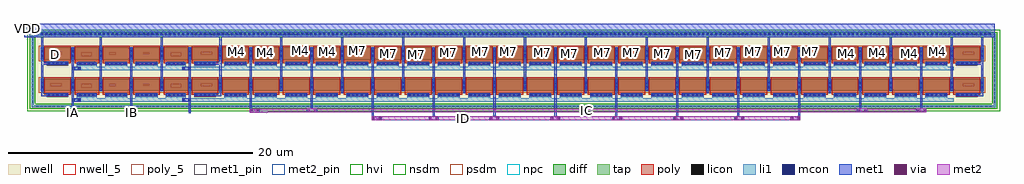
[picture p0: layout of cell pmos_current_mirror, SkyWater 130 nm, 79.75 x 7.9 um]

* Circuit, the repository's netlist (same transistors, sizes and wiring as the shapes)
.subckt pmos_current_mirror VDD IA IB IC ID
XM0 IA VDD VDD VDD sky130_fd_pr__pfet_g5v0d10v5 ad=0.29 pd=2.58 as=0.29 ps=2.58 w=1 l=2.2 M=4
XM1 VDD VDD VDD VDD sky130_fd_pr__pfet_g5v0d10v5 ad=9.86002 pd=87.72501 as=0 ps=0 w=1 l=2.2 M=2
XM2 VDD IA IA VDD sky130_fd_pr__pfet_g5v0d10v5 ad=0.29 pd=2.58 as=0.29 ps=2.58 w=1 l=2 M=4
XM3 VDD IA IB VDD sky130_fd_pr__pfet_g5v0d10v5 ad=0.29 pd=2.58 as=0.145 ps=1.29 w=1 l=2.2 M=4
XM4 VDD IA ID VDD sky130_fd_pr__pfet_g5v0d10v5 ad=0.29 pd=2.58 as=0.145 ps=1.29 w=1 l=2.2 M=32
XM5 VDD IA IC VDD sky130_fd_pr__pfet_g5v0d10v5 ad=0 pd=0 as=2.32 ps=20.64 w=1 l=2.2 M=16
.ends
.end

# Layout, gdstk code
from math import pi, radians
import gdstk
lib = gdstk.Library(unit=1e-6, precision=1e-09)
def R(c, l, rs):  # rectangles x0, y0, x1, y1
    for r in rs: c.add(gdstk.rectangle(r[:2], r[2:], *l))
def A(c, l, x, y, w, h, nx, ny, dx, dy):  # array of equal rectangles
    R(c, l, [(x+i*dx, y+j*dy, x+i*dx+w, y+j*dy+h) for i in range(nx) for j in range(ny)])
nwell_5 = (64, 5)
nwell = (64, 20)
diff = (65, 20)
tap = (65, 44)
poly_5 = (66, 5)
poly = (66, 20)
licon = (66, 44)
li1 = (67, 20)
mcon = (67, 44)
met1_pin = (68, 16)
met1 = (68, 20)
via = (68, 44)
met2_pin = (69, 16)
met2 = (69, 20)
hvi = (75, 20)
nsdm = (93, 44)
psdm = (94, 20)
npc = (95, 20)

sky130_fd_pr__pfet_g5v0d = lib.new_cell('sky130_fd_pr__pfet_g5v0d10v5_4BL26L')
R(sky130_fd_pr__pfet_g5v0d, nwell, [(-1.47,-0.82,1.47,0.99)])
R(sky130_fd_pr__pfet_g5v0d, diff, [(-1.29,-0.32,1.29,0.68)])
R(sky130_fd_pr__pfet_g5v0d, poly_5, [(-0.46,-0.04,0.41,0.27)])
R(sky130_fd_pr__pfet_g5v0d, poly, [(-0.815,-0.805,0.815,-0.64), (-1,-0.64,1,0.81)])
A(sky130_fd_pr__pfet_g5v0d, licon, -0.595, -0.725, 0.17, 0.17, 4, 1, 0.34, 0)
A(sky130_fd_pr__pfet_g5v0d, licon, -1.23, -0.245, 0.17, 0.17, 1, 3, 0, 0.34)
A(sky130_fd_pr__pfet_g5v0d, licon, 1.06, -0.245, 0.17, 0.17, 1, 3, 0, 0.34)
R(sky130_fd_pr__pfet_g5v0d, li1, [(-1.23,-1.2,1.33,-0.9), (-0.82,-0.9,0.82,-0.55), (-1.23,-0.34,-1.06,0.7), (1.06,-0.34,1.23,0.7)])
A(sky130_fd_pr__pfet_g5v0d, mcon, -0.625, -0.725, 0.17, 0.17, 4, 1, 0.36, 0)
R(sky130_fd_pr__pfet_g5v0d, mcon, [(-1.17,-1.14,-1,-0.97), (-0.74,-1.14,-0.57,-0.97), (-1.23,-0.085,-1.06,0.085), (1.06,-0.085,1.23,0.085), (-1.23,0.275,-1.06,0.445), (1.06,0.275,1.23,0.445)])
R(sky130_fd_pr__pfet_g5v0d, met1, [(-1.23,-1.2,-0.51,-0.9), (-1.23,-0.9,-1.06,-0.32), (-0.795,-0.755,0.795,-0.525), (-1.26,-0.32,-1.03,0.68), (1.03,-0.32,1.26,0.68), (1.06,0.68,1.23,1.03)])
R(sky130_fd_pr__pfet_g5v0d, hvi, [(-1.47,-0.82,1.47,-0.505), (-1.475,-0.505,1.475,0.865), (-1.47,0.865,1.47,0.99)])
R(sky130_fd_pr__pfet_g5v0d, psdm, [(-1.415,-0.445,1.415,0.805)])
R(sky130_fd_pr__pfet_g5v0d, npc, [(-0.695,-0.825,0.695,-0.455)])
sky130_fd_pr__pfet_g5v0d.add(gdstk.Label('M3', (-0.025,0.115), layer=66, texttype=5))

c_sky130_fd_pr__pfet_g5v0d = lib.new_cell('sky130_fd_pr__pfet_g5v0d10v5_5BVZHP')
R(c_sky130_fd_pr__pfet_g5v0d, nwell, [(-1.57,-0.82,1.57,0.99)])
R(c_sky130_fd_pr__pfet_g5v0d, diff, [(-1.39,-0.32,1.39,0.68)])
R(c_sky130_fd_pr__pfet_g5v0d, poly_5, [(-0.59,0.05,0.33,0.33)])
R(c_sky130_fd_pr__pfet_g5v0d, poly, [(-0.895,-0.805,0.895,-0.64), (-1.1,-0.64,1.1,0.81)])
A(c_sky130_fd_pr__pfet_g5v0d, licon, -0.765, -0.725, 0.17, 0.17, 5, 1, 0.34, 0)
A(c_sky130_fd_pr__pfet_g5v0d, licon, -1.33, -0.245, 0.17, 0.17, 1, 3, 0, 0.34)
A(c_sky130_fd_pr__pfet_g5v0d, licon, 1.16, -0.245, 0.17, 0.17, 1, 3, 0, 0.34)
R(c_sky130_fd_pr__pfet_g5v0d, li1, [(-0.895,-0.725,0.895,-0.555), (-1.33,-0.34,-1.16,0.7), (1.16,-0.34,1.33,0.7)])
A(c_sky130_fd_pr__pfet_g5v0d, mcon, -0.805, -0.725, 0.17, 0.17, 5, 1, 0.36, 0)
R(c_sky130_fd_pr__pfet_g5v0d, mcon, [(-1.33,-0.085,-1.16,0.085), (1.16,-0.085,1.33,0.085), (-1.33,0.275,-1.16,0.445), (1.16,0.275,1.33,0.445)])
R(c_sky130_fd_pr__pfet_g5v0d, met1, [(-1.33,-0.76,0.88,-0.51), (-1.33,-0.51,-1.16,-0.32), (-1.36,-0.32,-1.13,0.68), (1.13,-0.32,1.36,0.68)])
R(c_sky130_fd_pr__pfet_g5v0d, hvi, [(-1.57,-0.82,1.57,-0.505), (-1.575,-0.505,1.575,0.865), (-1.57,0.865,1.57,0.99)])
R(c_sky130_fd_pr__pfet_g5v0d, psdm, [(-1.515,-0.445,1.515,0.805)])
R(c_sky130_fd_pr__pfet_g5v0d, npc, [(-0.865,-0.825,0.865,-0.455)])
c_sky130_fd_pr__pfet_g5v0d.add(gdstk.Label('D', (-0.13,0.19), layer=66, texttype=5))

c_sky130_fd_pr__pfet_g5v0d_ = lib.new_cell('sky130_fd_pr__pfet_g5v0d10v5_LEVZHF')
R(c_sky130_fd_pr__pfet_g5v0d_, nwell, [(-2.815,-0.82,2.815,0.99)])
R(c_sky130_fd_pr__pfet_g5v0d_, diff, [(-2.635,-0.32,2.635,0.68)])
R(c_sky130_fd_pr__pfet_g5v0d_, poly_5, [(-1.785,0.08,-1.265,0.27), (0.965,0.09,1.485,0.28)])
R(c_sky130_fd_pr__pfet_g5v0d_, poly, [(-2.14,-0.805,-0.35,-0.64), (0.35,-0.805,2.14,-0.64), (-2.345,-0.64,-0.145,0.81), (0.145,-0.64,2.345,0.81)])
A(c_sky130_fd_pr__pfet_g5v0d_, licon, -2.01, -0.725, 0.17, 0.17, 5, 1, 0.34, 0)
A(c_sky130_fd_pr__pfet_g5v0d_, licon, 0.48, -0.725, 0.17, 0.17, 5, 1, 0.34, 0)
A(c_sky130_fd_pr__pfet_g5v0d_, licon, -2.575, -0.245, 0.17, 0.17, 3, 3, 2.49, 0.34)
A(c_sky130_fd_pr__pfet_g5v0d_, li1, -2.575, -0.34, 0.17, 1.04, 3, 1, 2.49, 0)
R(c_sky130_fd_pr__pfet_g5v0d_, li1, [(-2.575,-1.2,2.545,-0.9), (-2.145,-0.9,-0.345,-0.55), (0.345,-0.9,2.145,-0.55)])
A(c_sky130_fd_pr__pfet_g5v0d_, mcon, -2.05, -0.725, 0.17, 0.17, 5, 1, 0.36, 0)
A(c_sky130_fd_pr__pfet_g5v0d_, mcon, 0.44, -0.725, 0.17, 0.17, 5, 1, 0.36, 0)
A(c_sky130_fd_pr__pfet_g5v0d_, mcon, -2.575, -0.085, 0.17, 0.17, 3, 2, 2.49, 0.36)
A(c_sky130_fd_pr__pfet_g5v0d_, met1, -2.605, -0.32, 0.23, 1, 3, 1, 2.49, 0)
R(c_sky130_fd_pr__pfet_g5v0d_, met1, [(-0.085,-1.3,0.085,-0.32), (-2.12,-0.755,-0.37,-0.525), (0.37,-0.755,2.12,-0.525)])
R(c_sky130_fd_pr__pfet_g5v0d_, hvi, [(-2.815,-0.82,2.815,-0.505), (-2.82,-0.505,2.82,0.865), (-2.815,0.865,2.815,0.99)])
R(c_sky130_fd_pr__pfet_g5v0d_, psdm, [(-2.76,-0.445,2.76,0.805)])
R(c_sky130_fd_pr__pfet_g5v0d_, npc, [(-2.11,-0.825,-0.38,-0.455), (0.38,-0.825,2.11,-0.455)])
c_sky130_fd_pr__pfet_g5v0d_.add(gdstk.Label('M2', (-1.525,0.175), layer=66, texttype=5))
c_sky130_fd_pr__pfet_g5v0d_.add(gdstk.Label('M2', (1.225,0.185), layer=66, texttype=5))

c_sky130_fd_pr__pfet_g5v0d__ = lib.new_cell('sky130_fd_pr__pfet_g5v0d10v5_4BVZHX')
R(c_sky130_fd_pr__pfet_g5v0d__, nwell, [(-5.305,-0.82,5.305,0.99)])
R(c_sky130_fd_pr__pfet_g5v0d__, diff, [(-5.125,-0.32,5.125,0.68)])
A(c_sky130_fd_pr__pfet_g5v0d__, poly, -4.63, -0.805, 1.79, 0.165, 4, 1, 2.49, 0)
A(c_sky130_fd_pr__pfet_g5v0d__, poly, -4.835, -0.64, 2.2, 1.45, 4, 1, 2.49, 0)
A(c_sky130_fd_pr__pfet_g5v0d__, licon, -4.5, -0.725, 0.17, 0.17, 5, 1, 0.34, 0)
A(c_sky130_fd_pr__pfet_g5v0d__, licon, -2.01, -0.725, 0.17, 0.17, 5, 1, 0.34, 0)
A(c_sky130_fd_pr__pfet_g5v0d__, licon, 0.48, -0.725, 0.17, 0.17, 5, 1, 0.34, 0)
A(c_sky130_fd_pr__pfet_g5v0d__, licon, 2.97, -0.725, 0.17, 0.17, 5, 1, 0.34, 0)
A(c_sky130_fd_pr__pfet_g5v0d__, licon, -5.065, -0.245, 0.17, 0.17, 5, 3, 2.49, 0.34)
A(c_sky130_fd_pr__pfet_g5v0d__, li1, -4.635, -0.9, 1.8, 0.37, 4, 1, 2.49, 0)
A(c_sky130_fd_pr__pfet_g5v0d__, li1, -5.065, -0.34, 0.17, 1.04, 5, 1, 2.49, 0)
R(c_sky130_fd_pr__pfet_g5v0d__, li1, [(-5.035,-1.2,-2.835,-1.195), (-2.145,-1.2,-0.345,-1.195), (0.345,-1.2,2.145,-1.195), (2.835,-1.2,4.975,-1.195), (-5.035,-1.195,5.15,-0.9)])
A(c_sky130_fd_pr__pfet_g5v0d__, mcon, -4.54, -0.725, 0.17, 0.17, 5, 1, 0.36, 0)
A(c_sky130_fd_pr__pfet_g5v0d__, mcon, -2.05, -0.725, 0.17, 0.17, 5, 1, 0.36, 0)
A(c_sky130_fd_pr__pfet_g5v0d__, mcon, 0.44, -0.725, 0.17, 0.17, 5, 1, 0.36, 0)
A(c_sky130_fd_pr__pfet_g5v0d__, mcon, 2.93, -0.725, 0.17, 0.17, 5, 1, 0.36, 0)
A(c_sky130_fd_pr__pfet_g5v0d__, mcon, -5.065, -0.085, 0.17, 0.17, 5, 2, 2.49, 0.36)
A(c_sky130_fd_pr__pfet_g5v0d__, met1, -4.61, -0.755, 1.75, 0.23, 4, 1, 2.49, 0)
A(c_sky130_fd_pr__pfet_g5v0d__, met1, -5.095, -0.32, 0.23, 1, 5, 1, 2.49, 0)
R(c_sky130_fd_pr__pfet_g5v0d__, met1, [(2.405,-1.97,2.575,-0.32), (-2.575,-1.92,-2.405,-0.32), (-5.065,-0.51,-4.895,-0.32), (-5.065,0.68,-4.895,1.09), (-0.085,0.68,0.085,2.32), (4.895,0.68,5.065,2.54)])
R(c_sky130_fd_pr__pfet_g5v0d__, hvi, [(-5.305,-0.82,5.305,-0.505), (-5.31,-0.505,5.31,0.865), (-5.305,0.865,5.305,0.99)])
R(c_sky130_fd_pr__pfet_g5v0d__, psdm, [(-5.25,-0.445,5.25,0.805)])
A(c_sky130_fd_pr__pfet_g5v0d__, npc, -4.6, -0.825, 1.73, 0.37, 4, 1, 2.49, 0)

pmos_current_mirror = lib.new_cell('pmos_current_mirror')
R(pmos_current_mirror, nwell_5, [(65.62,0.63,66.45,1.34), (70.78,0.66,71.61,1.37), (53.33,0.67,53.78,1.18), (30.64,0.69,31.09,1.2), (68.13,0.71,68.96,1.42), (43.19,0.74,43.64,1.25), (50.76,0.74,51.21,1.25), (1.16,0.75,1.66,1.13), (28.4,0.76,28.85,1.27), (45.86,0.78,46.31,1.29), (55.79,0.78,56.24,1.29), (73.03,0.79,73.86,1.5), (33.26,0.8,33.71,1.31), (40.93,0.81,41.38,1.32), (48.22,0.85,48.67,1.36), (18.19,0.88,18.87,1.31), (58.22,0.88,58.67,1.39), (60.61,0.88,61.06,1.39), (23.32,0.9,24,1.33), (38.23,0.91,38.68,1.42), (35.9,0.92,36.35,1.43), (62.87,0.92,63.32,1.43), (15.84,0.94,16.52,1.37), (25.83,0.98,26.28,1.49), (21.11,1.03,21.79,1.46)])
R(pmos_current_mirror, nwell, [(-0.885,-3.745,78.575,2.945)])
R(pmos_current_mirror, tap, [(-0.555,-3.415,78.245,-3.245), (-0.555,-3.245,-0.385,2.445), (78.075,-3.245,78.245,2.445), (-0.555,2.445,78.245,2.615)])
A(pmos_current_mirror, licon, -0.17, -3.415, 0.17, 0.17, 230, 2, 0.34, 5.86)
A(pmos_current_mirror, licon, -0.555, -3.035, 0.17, 0.17, 1, 16, 0, 0.34)
A(pmos_current_mirror, licon, 78.075, -3.035, 0.17, 0.17, 1, 16, 0, 0.34)
R(pmos_current_mirror, li1, [(-0.555,-3.415,78.245,-3.245), (-0.555,-3.245,-0.385,2.445), (78.075,-3.245,78.245,2.445), (12.04,-2.95,14.91,-2.65), (11.55,-0.38,15.95,-0.08), (-0.13,2.44,77.81,2.445), (-0.555,2.445,78.245,2.615), (-0.13,2.615,77.81,2.79)])
A(pmos_current_mirror, mcon, -0.125, 2.53, 0.17, 0.17, 217, 1, 0.36, 0)
R(pmos_current_mirror, met1_pin, [(7.51,-3.945,7.68,-3.775), (2.76,-3.86,2.88,-3.77), (-1.01,2.96,-0.76,3.14)])
A(pmos_current_mirror, met1, 46.88, -4.47, 0.82, 0.32, 3, 1, 4.99, 0)
R(pmos_current_mirror, met1, [(27.23,-4.47,28.05,-4.15), (31.89,-4.47,32.71,-4.15), (36.84,-4.47,37.66,-4.15), (41.83,-4.47,42.65,-4.15), (61.44,-4.47,62.26,-4.15), (27.23,-4.15,27.4,-3.42), (32.21,-4.15,32.38,-3.44), (37.19,-4.15,37.36,-3.24), (42.17,-4.15,42.34,-3.26), (47.15,-4.15,47.32,-3.33), (52.13,-4.15,52.3,-3.08), (57.11,-4.15,57.28,-2.91), (62.09,-4.15,62.26,-3.02), (7.51,-3.945,7.68,-2.88), (2.73,-3.89,2.9,0.12), (12.29,-3.88,12.46,-2.44), (17.27,-3.83,18.09,-3.51), (21.95,-3.82,22.77,-3.5), (66.89,-3.82,67.71,-3.5), (71.74,-3.82,72.56,-3.5), (7.51,-2.62,7.68,-0.25), (0.24,-2.46,0.41,2.32), (77.03,-2.29,77.2,2.32), (14.79,-1.35,14.97,2.32), (12.29,-1.32,12.46,0.12), (5.02,-1.21,5.19,2.32), (10,-1.15,10.17,2.32), (-1.17,2.32,78.14,3.43)])
R(pmos_current_mirror, via, [(27.315,-4.385,27.465,-4.235), (27.815,-4.385,27.965,-4.235), (31.975,-4.385,32.125,-4.235), (32.475,-4.385,32.625,-4.235), (36.925,-4.385,37.075,-4.235), (37.425,-4.385,37.575,-4.235), (41.915,-4.385,42.065,-4.235), (42.415,-4.385,42.565,-4.235), (46.965,-4.385,47.115,-4.235), (47.465,-4.385,47.615,-4.235), (51.955,-4.385,52.105,-4.235), (52.455,-4.385,52.605,-4.235), (56.945,-4.385,57.095,-4.235), (57.445,-4.385,57.595,-4.235), (61.525,-4.385,61.675,-4.235), (62.025,-4.385,62.175,-4.235), (17.355,-3.745,17.505,-3.595), (17.855,-3.745,18.005,-3.595), (22.035,-3.735,22.185,-3.585), (22.535,-3.735,22.685,-3.585), (66.975,-3.735,67.125,-3.585), (67.475,-3.735,67.625,-3.585), (71.825,-3.735,71.975,-3.585), (72.325,-3.735,72.475,-3.585)])
R(pmos_current_mirror, met2_pin, [(32.68,-4.47,36.87,-4.15), (22.74,-3.825,66.92,-3.51)])
R(pmos_current_mirror, met2, [(27.23,-4.47,62.26,-4.15), (17.27,-3.83,18.71,-3.825), (17.27,-3.825,72.225,-3.82), (17.27,-3.82,72.56,-3.51), (21.95,-3.51,22.77,-3.5), (66.89,-3.51,67.71,-3.5), (71.74,-3.51,72.56,-3.5)])
R(pmos_current_mirror, hvi, [(-0.885,-3.745,78.575,2.945)])
R(pmos_current_mirror, nsdm, [(-0.68,-3.54,78.37,-3.12), (-0.68,-3.12,-0.26,2.32), (77.95,-3.12,78.37,2.32), (-0.68,2.32,78.37,2.74)])
pmos_current_mirror.add(gdstk.Reference(sky130_fd_pr__pfet_g5v0d, (11.23,0.82), rotation=pi, x_reflection=True))
pmos_current_mirror.add(gdstk.Reference(sky130_fd_pr__pfet_g5v0d, (3.96,0.82)))
pmos_current_mirror.add(gdstk.Reference(sky130_fd_pr__pfet_g5v0d, (3.96,-1.75)))
pmos_current_mirror.add(gdstk.Reference(sky130_fd_pr__pfet_g5v0d, (11.23,-1.75), rotation=pi, x_reflection=True))
pmos_current_mirror.add(gdstk.Reference(c_sky130_fd_pr__pfet_g5v0d, (1.57,0.82)))
pmos_current_mirror.add(gdstk.Reference(c_sky130_fd_pr__pfet_g5v0d, (1.57,-1.75)))
pmos_current_mirror.add(gdstk.Reference(c_sky130_fd_pr__pfet_g5v0d_, (7.595,0.82)))
pmos_current_mirror.add(gdstk.Reference(c_sky130_fd_pr__pfet_g5v0d_, (7.595,-1.75)))
pmos_current_mirror.add(gdstk.Reference(c_sky130_fd_pr__pfet_g5v0d__, (19.845,0.82)))
pmos_current_mirror.add(gdstk.Reference(c_sky130_fd_pr__pfet_g5v0d__, (19.845,-1.75)))
pmos_current_mirror.add(gdstk.Reference(c_sky130_fd_pr__pfet_g5v0d, (13.62,0.82), rotation=pi, x_reflection=True))
pmos_current_mirror.add(gdstk.Reference(c_sky130_fd_pr__pfet_g5v0d, (13.62,-1.75), rotation=pi, x_reflection=True))
pmos_current_mirror.add(gdstk.Reference(c_sky130_fd_pr__pfet_g5v0d__, (29.805,0.82)))
pmos_current_mirror.add(gdstk.Reference(c_sky130_fd_pr__pfet_g5v0d__, (29.805,-1.75)))
pmos_current_mirror.add(gdstk.Reference(c_sky130_fd_pr__pfet_g5v0d__, (39.765,0.82)))
pmos_current_mirror.add(gdstk.Reference(c_sky130_fd_pr__pfet_g5v0d__, (39.765,-1.75)))
pmos_current_mirror.add(gdstk.Reference(c_sky130_fd_pr__pfet_g5v0d__, (59.685,0.82)))
pmos_current_mirror.add(gdstk.Reference(c_sky130_fd_pr__pfet_g5v0d__, (49.725,0.82)))
pmos_current_mirror.add(gdstk.Reference(c_sky130_fd_pr__pfet_g5v0d__, (49.725,-1.75)))
pmos_current_mirror.add(gdstk.Reference(c_sky130_fd_pr__pfet_g5v0d__, (59.685,-1.75)))
pmos_current_mirror.add(gdstk.Reference(c_sky130_fd_pr__pfet_g5v0d__, (69.645,0.82)))
pmos_current_mirror.add(gdstk.Reference(c_sky130_fd_pr__pfet_g5v0d__, (69.645,-1.75)))
pmos_current_mirror.add(gdstk.Reference(c_sky130_fd_pr__pfet_g5v0d, (75.87,-1.75), rotation=pi, x_reflection=True))
pmos_current_mirror.add(gdstk.Reference(c_sky130_fd_pr__pfet_g5v0d, (75.87,0.82), rotation=pi, x_reflection=True))
pmos_current_mirror.add(gdstk.Label('D', (1.41,0.94), layer=64, texttype=5))
pmos_current_mirror.add(gdstk.Label('M4', (73.445,1.145), layer=64, texttype=5))
pmos_current_mirror.add(gdstk.Label('M4', (71.195,1.015), layer=64, texttype=5))
pmos_current_mirror.add(gdstk.Label('M4', (68.545,1.065), layer=64, texttype=5))
pmos_current_mirror.add(gdstk.Label('M4', (66.035,0.985), layer=64, texttype=5))
pmos_current_mirror.add(gdstk.Label('M7', (63.095,1.175), layer=64, texttype=5))
pmos_current_mirror.add(gdstk.Label('M7', (60.835,1.135), layer=64, texttype=5))
pmos_current_mirror.add(gdstk.Label('M7', (58.445,1.135), layer=64, texttype=5))
pmos_current_mirror.add(gdstk.Label('M7', (56.015,1.035), layer=64, texttype=5))
pmos_current_mirror.add(gdstk.Label('M7', (53.555,0.925), layer=64, texttype=5))
pmos_current_mirror.add(gdstk.Label('M7', (50.985,0.995), layer=64, texttype=5))
pmos_current_mirror.add(gdstk.Label('M7', (48.445,1.105), layer=64, texttype=5))
pmos_current_mirror.add(gdstk.Label('M7', (46.085,1.035), layer=64, texttype=5))
pmos_current_mirror.add(gdstk.Label('M7', (43.415,0.995), layer=64, texttype=5))
pmos_current_mirror.add(gdstk.Label('M7', (41.155,1.065), layer=64, texttype=5))
pmos_current_mirror.add(gdstk.Label('M7', (38.455,1.165), layer=64, texttype=5))
pmos_current_mirror.add(gdstk.Label('M7', (36.125,1.175), layer=64, texttype=5))
pmos_current_mirror.add(gdstk.Label('M7', (33.485,1.055), layer=64, texttype=5))
pmos_current_mirror.add(gdstk.Label('M7', (30.865,0.945), layer=64, texttype=5))
pmos_current_mirror.add(gdstk.Label('M7', (28.625,1.015), layer=64, texttype=5))
pmos_current_mirror.add(gdstk.Label('M7', (26.055,1.235), layer=64, texttype=5))
pmos_current_mirror.add(gdstk.Label('M4', (23.66,1.115), layer=64, texttype=5))
pmos_current_mirror.add(gdstk.Label('M4', (21.45,1.245), layer=64, texttype=5))
pmos_current_mirror.add(gdstk.Label('M4', (18.53,1.095), layer=64, texttype=5))
pmos_current_mirror.add(gdstk.Label('M4', (16.18,1.155), layer=64, texttype=5))
pmos_current_mirror.add(gdstk.Label('VDD', (-0.885,3.05), layer=68, texttype=5))
pmos_current_mirror.add(gdstk.Label('IA', (2.82,-3.815), layer=68, texttype=5))
pmos_current_mirror.add(gdstk.Label('IB', (7.595,-3.86), layer=68, texttype=5))
pmos_current_mirror.add(gdstk.Label('IC', (44.83,-3.667), layer=69, texttype=5))
pmos_current_mirror.add(gdstk.Label('ID', (34.775,-4.31), layer=69, texttype=5))

lib.write_gds('pmos_current_mirror.gds')
